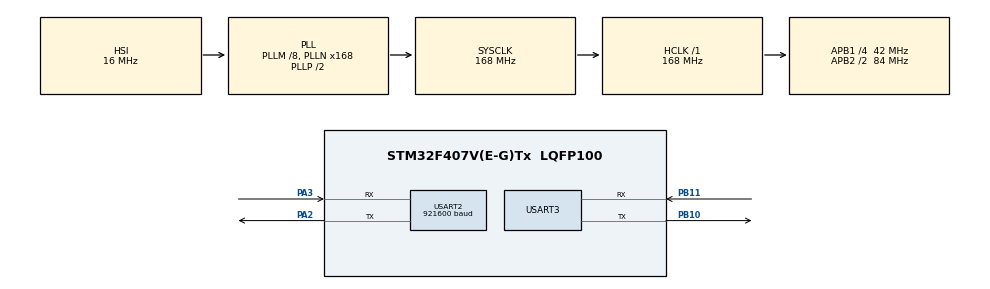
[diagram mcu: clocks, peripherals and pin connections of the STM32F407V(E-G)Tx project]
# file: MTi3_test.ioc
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Dma.Request0=USART3_RX
Dma.USART3_RX.0.Direction=DMA_PERIPH_TO_MEMORY
Dma.USART3_RX.0.FIFOMode=DMA_FIFOMODE_DISABLE
Dma.USART3_RX.0.Instance=DMA1_Stream1
Dma.USART3_RX.0.MemDataAlignment=DMA_MDATAALIGN_BYTE
Dma.USART3_RX.0.MemInc=DMA_MINC_ENABLE
Dma.USART3_RX.0.Mode=DMA_NORMAL
Dma.USART3_RX.0.PeriphDataAlignment=DMA_PDATAALIGN_BYTE
Dma.USART3_RX.0.PeriphInc=DMA_PINC_DISABLE
Dma.USART3_RX.0.Priority=DMA_PRIORITY_LOW
Mcu.Family=STM32F4
Mcu.Name=STM32F407V(E-G)Tx
Mcu.Package=LQFP100
NVIC.DMA1_Stream1_IRQn=true\:0\:0\:false\:false\:true\:false
NVIC.PriorityGroup=NVIC_PRIORITYGROUP_4
NVIC.TIM6_DAC_IRQn=true\:0\:0\:false\:false\:true\:true
NVIC.TIM7_IRQn=true\:0\:0\:false\:false\:true\:true
PA13.Mode=Serial_Wire
PA13.Signal=SYS_JTMS-SWDIO
PA14.Mode=Serial_Wire
PA14.Signal=SYS_JTCK-SWCLK
PA2.Mode=Asynchronous
PA2.Signal=USART2_TX
PA3.Mode=Asynchronous
PA3.Signal=USART2_RX
PB10.Mode=Asynchronous
PB10.Signal=USART3_TX
PB11.Mode=Asynchronous
PB11.Signal=USART3_RX
PH0-OSC_IN.Mode=HSE-External-Oscillator
PH0-OSC_IN.Signal=RCC_OSC_IN
PH1-OSC_OUT.Mode=HSE-External-Oscillator
PH1-OSC_OUT.Signal=RCC_OSC_OUT
ProjectManager.HeapSize=0x200
ProjectManager.StackSize=0x4000
ProjectManager.TargetToolchain=EWARM
RCC.48MHZClocksFreq_Value=84000000
RCC.AHBFreq_Value=168000000
RCC.APB1CLKDivider=RCC_HCLK_DIV4
RCC.APB1Freq_Value=42000000
RCC.APB1TimFreq_Value=84000000
RCC.APB2CLKDivider=RCC_HCLK_DIV2
RCC.APB2Freq_Value=84000000
RCC.APB2TimFreq_Value=168000000
RCC.CortexFreq_Value=168000000
RCC.HCLKFreq_Value=168000000
RCC.HSE_VALUE=25000000
RCC.HSI_VALUE=16000000
RCC.LSE_VALUE=32768
RCC.PLLM=8
RCC.PLLN=168
RCC.SYSCLKFreq_VALUE=168000000
RCC.SYSCLKSource=RCC_SYSCLKSOURCE_PLLCLK
RCC.VCOOutputFreq_Value=336000000
TIM6.Period=999
TIM6.Prescaler=83
TIM7.Period=9999
TIM7.Prescaler=8399
USART2.BaudRate=921600
USART2.VirtualMode=VM_ASYNC
USART3.VirtualMode=VM_ASYNC
VP_TIM6_VS_ClockSourceINT.Mode=Enable_Timer
VP_TIM7_VS_ClockSourceINT.Mode=Enable_Timer
board=MTi3_test

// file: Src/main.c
/**
  ******************************************************************************
  * File Name          : main.c
  * Description        : Main program body
  ******************************************************************************
  ** This notice applies to any and all portions of this file
  * that are not between comment pairs USER CODE BEGIN and
  * USER CODE END. Other portions of this file, whether
  * inserted by the user or by software development tools
  * are owned by their respective copyright owners.
  *
  * COPYRIGHT(c) 2017 STMicroelectronics
  *
  * Redistribution and use in source and binary forms, with or without modification,
  * are permitted provided that the following conditions are met:
  *   1. Redistributions of source code must retain the above copyright notice,
  *      this list of conditions and the following disclaimer.
  *   2. Redistributions in binary form must reproduce the above copyright notice,
  *      this list of conditions and the following disclaimer in the documentation
  *      and/or other materials provided with the distribution.
  *   3. Neither the name of STMicroelectronics nor the names of its contributors
  *      may be used to endorse or promote products derived from this software
  *      without specific prior written permission.
  *
  * THIS SOFTWARE IS PROVIDED BY THE COPYRIGHT HOLDERS AND CONTRIBUTORS "AS IS"
  * AND ANY EXPRESS OR IMPLIED WARRANTIES, INCLUDING, BUT NOT LIMITED TO, THE
  * IMPLIED WARRANTIES OF MERCHANTABILITY AND FITNESS FOR A PARTICULAR PURPOSE ARE
  * DISCLAIMED. IN NO EVENT SHALL THE COPYRIGHT HOLDER OR CONTRIBUTORS BE LIABLE
  * FOR ANY DIRECT, INDIRECT, INCIDENTAL, SPECIAL, EXEMPLARY, OR CONSEQUENTIAL
  * DAMAGES (INCLUDING, BUT NOT LIMITED TO, PROCUREMENT OF SUBSTITUTE GOODS OR
  * SERVICES; LOSS OF USE, DATA, OR PROFITS; OR BUSINESS INTERRUPTION) HOWEVER
  * CAUSED AND ON ANY THEORY OF LIABILITY, WHETHER IN CONTRACT, STRICT LIABILITY,
  * OR TORT (INCLUDING NEGLIGENCE OR OTHERWISE) ARISING IN ANY WAY OUT OF THE USE
  * OF THIS SOFTWARE, EVEN IF ADVISED OF THE POSSIBILITY OF SUCH DAMAGE.
  *
  ******************************************************************************
  */
#include "main.h"
#include "stm32f4xx_hal.h"
#include "dma.h"
#include "tim.h"
#include "usart.h"
#include "gpio.h"

/* USER CODE BEGIN Includes */
#include "mti.h"
/* USER CODE END Includes */

/* USER CODE BEGIN PV */
/* Private variables ---------------------------------------------------------*/
uint8_t rxbuff1[10];
uint8_t rxbuff2[10];
uint16_t loop_count = 0;
volatile uint8_t flag = 0;
/* USER CODE END PV */

void SystemClock_Config(void);

/* USER CODE BEGIN PFP */
/* Private function prototypes -----------------------------------------------*/

/* USER CODE END PFP */

int main(void)
{

  /* USER CODE BEGIN 1 */
  uint16_t idx = 0;
  uint16_t i;
  /* USER CODE END 1 */

  /* MCU Configuration----------------------------------------------------------*/

  /* Reset of all peripherals, Initializes the Flash interface and the Systick. */
  HAL_Init();

  /* Configure the system clock */
  SystemClock_Config();

  /* Initialize all configured peripherals */
  MX_GPIO_Init();
  MX_DMA_Init();
  MX_USART3_UART_Init();
  MX_USART2_UART_Init();
  MX_TIM6_Init();
  MX_TIM7_Init();

  /* USER CODE BEGIN 2 */

  HAL_TIM_Base_Start_IT(&htim7);
  HAL_TIM_Base_Start_IT(&htim6);

  /* USER CODE END 2 */

  /* Infinite loop */
  /* USER CODE BEGIN WHILE */
  while (1)
  {
    receive_mti_packet();
    if(mti_rx_flag)
    {
      check_mti_packet();
      if(mti_checksum_flag)
      {
        decode_mti();
      }
    }

    /*
    if(flag == 1)
    {
      idx = 0;
      for(i = 0; i < 100; i++)
      {
        HAL_UART_Receive_DMA(&huart3, (uint8_t*)(mti_rx_buff+idx), 10);
        while(!(HAL_UART_GetState(&huart3) == HAL_UART_STATE_READY));
        idx += 10;
      }

      for(idx = 0; idx < 1024; idx++)
      {
        printf("%4x", mti_rx_buff[idx]);
      }
      flag = 0;
    }*/

    //if(mti_rx_flag == 1)
    //{
    //  mti_rx_flag = 0;
      //memcpy(mti_packet_buff, mti_rx_buff, mti_msg_len);
      //mti_checksum_flag = check_mti_packet();
      /*if(mti_checksum_flag == 1)
      {
        decode_mti(ACCELERATION);
      }*/

   }

  /* USER CODE END WHILE */

}

/** System Clock Configuration
*/
void SystemClock_Config(void)
{

  RCC_OscInitTypeDef RCC_OscInitStruct;
  RCC_ClkInitTypeDef RCC_ClkInitStruct;

    /**Configure the main internal regulator output voltage
    */
  __HAL_RCC_PWR_CLK_ENABLE();

  __HAL_PWR_VOLTAGESCALING_CONFIG(PWR_REGULATOR_VOLTAGE_SCALE1);

    /**Initializes the CPU, AHB and APB busses clocks
    */
  RCC_OscInitStruct.OscillatorType = RCC_OSCILLATORTYPE_HSI;
  RCC_OscInitStruct.HSIState = RCC_HSI_ON;
  RCC_OscInitStruct.HSICalibrationValue = 16;
  RCC_OscInitStruct.PLL.PLLState = RCC_PLL_ON;
  RCC_OscInitStruct.PLL.PLLSource = RCC_PLLSOURCE_HSI;
  RCC_OscInitStruct.PLL.PLLM = 8;
  RCC_OscInitStruct.PLL.PLLN = 168;
  RCC_OscInitStruct.PLL.PLLP = RCC_PLLP_DIV2;
  RCC_OscInitStruct.PLL.PLLQ = 4;
  if (HAL_RCC_OscConfig(&RCC_OscInitStruct) != HAL_OK)
  {
    _Error_Handler(__FILE__, __LINE__);
  }

    /**Initializes the CPU, AHB and APB busses clocks
    */
  RCC_ClkInitStruct.ClockType = RCC_CLOCKTYPE_HCLK|RCC_CLOCKTYPE_SYSCLK
                              |RCC_CLOCKTYPE_PCLK1|RCC_CLOCKTYPE_PCLK2;
  RCC_ClkInitStruct.SYSCLKSource = RCC_SYSCLKSOURCE_PLLCLK;
  RCC_ClkInitStruct.AHBCLKDivider = RCC_SYSCLK_DIV1;
  RCC_ClkInitStruct.APB1CLKDivider = RCC_HCLK_DIV4;
  RCC_ClkInitStruct.APB2CLKDivider = RCC_HCLK_DIV2;

  if (HAL_RCC_ClockConfig(&RCC_ClkInitStruct, FLASH_LATENCY_5) != HAL_OK)
  {
    _Error_Handler(__FILE__, __LINE__);
  }

    /**Configure the Systick interrupt time
    */
  HAL_SYSTICK_Config(HAL_RCC_GetHCLKFreq()/1000);

    /**Configure the Systick
    */
  HAL_SYSTICK_CLKSourceConfig(SYSTICK_CLKSOURCE_HCLK);

  /* SysTick_IRQn interrupt configuration */
  HAL_NVIC_SetPriority(SysTick_IRQn, 0, 0);
}

/* USER CODE BEGIN 4 */
/*
void HAL_UART_RxCpltCallback(UART_HandleTypeDef *huart)
{
  static uint16_t idx = 0;
  uint16_t i;
  flag = 1;
  if(huart->Instance == USART3)
  {
    idx += 10;
    //printf("%d\r\n", mti_rx_buff+idx);

    for(i = 0; i < 1024; i++)
    {
      printf("%4x", mti_rx_buff[i]);
    }
    printf("\r\n");
    HAL_UART_Receive_DMA(&huart3, (uint8_t*)(mti_rx_buff+idx),  10);

  }
  /*if(huart->Instance == USART3)
  {
    HAL_UART_Receive_IT(&huart3, (uint8_t*)mti_rx_buff, 1);
    printf("%4x", mti_rx_buff[0]);
    mti_rx_flag = 1;
    for(idx = 0; idx < 1024; idx++)
    {
      printf("%4x", mti_rx_buff[idx]);
    }
    printf("\r\n\r\n");
    HAL_UART_Receive_DMA(&huart3, (uint8_t *)mti_rx_buff, 1024);

    if(mti_rx_buff[0] == 0xfa)
    {
      idx = 0;
    }

    idx++;

    if((idx >= mti_msg_len))
    {
      mti_rx_flag = 1;
      idx = 0;
    }

  }*/
//}

void HAL_TIM_PeriodElapsedCallback(TIM_HandleTypeDef *htim)
{
  if(htim->Instance == TIM7)
  {
    printf("\r\ntest %.4d %.4d\r\n", HAL_GetTick(), loop_count);
    loop_count = 0;
  }
  else if(htim->Instance == TIM6)
  {
    loop_count++;
    flag = 1;
  }

}

#ifdef __GNUC__
  /* With GCC/RAISONANCE, small printf (option LD Linker->Libraries->Small printf
     set to 'Yes') calls __io_putchar() */
  #define PUTCHAR_PROTOTYPE int __io_putchar(int ch)
#else
  #define PUTCHAR_PROTOTYPE int fputc(int ch, FILE *f)
#endif /* __GNUC__ */
/**
  * @brief  Retargets the C library printf function to the USART.
  * @param  None
  * @retval None
  */
PUTCHAR_PROTOTYPE
{
  /* write a character to the uart1 and Loop until the end of transmission */
  HAL_UART_Transmit(&huart2, (uint8_t *)&ch, 1, 0xFFFF);

  return ch;
}
/* USER CODE END 4 */

void _Error_Handler(char * file, int line)
{
  while(1)
  {
  }
}

/************************ (C) COPYRIGHT STMicroelectronics *****END OF FILE****/
